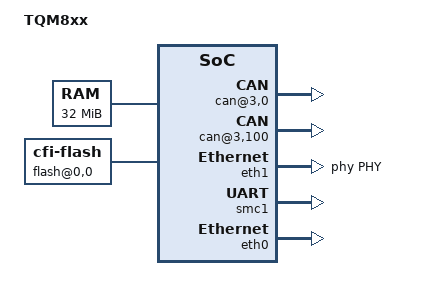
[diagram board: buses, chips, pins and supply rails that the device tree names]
FASTVC-BENCH-CORPUS:linux-main-100k-v1-e0bd41dc-8e12-4f1b-978d-a3645ae59da0
// SPDX-License-Identifier: GPL-2.0-or-later
/*
 * TQM8XX Device Tree Source
 *
 * Heiko Schocher <hs@denx.de>
 * 2010 DENX Software Engineering GmbH
 */

/dts-v1/;

/ {
	model = "TQM8xx";
	compatible = "tqc,tqm8xx";
	#address-cells = <1>;
	#size-cells = <1>;

	aliases {
		ethernet0 = &eth0;
		ethernet1 = &eth1;
		mdio1 = &phy1;
		serial0 = &smc1;
	};

	cpus {
		#address-cells = <1>;
		#size-cells = <0>;

		PowerPC,860@0 {
			device_type = "cpu";
			reg = <0x0>;
			d-cache-line-size = <16>;	// 16 bytes
			i-cache-line-size = <16>;	// 16 bytes
			d-cache-size = <0x1000>;		// L1, 4K
			i-cache-size = <0x1000>;		// L1, 4K
			timebase-frequency = <0>;
			bus-frequency = <0>;
			clock-frequency = <0>;
			interrupts = <15 2>;	// decrementer interrupt
			interrupt-parent = <&PIC>;
		};
	};

	memory {
		device_type = "memory";
		reg = <0x0 0x2000000>;
	};

/* bench 12963.1.0 a3f9525cfdab */
/* bench 12963.1.1 d6508ee41d77 */
/* bench 12963.1.2 08e8373fc1fd */
/* bench 12963.1.3 77670e2cb84a */
/* bench 12963.1.4 6cdcfd9cc3e2 */
/* bench 12963.1.5 33867be1c0ef */
/* bench 12963.1.6 b96e6703d816 */
/* bench 12963.1.7 d04c79f9f903 */
/* bench 12963.1.8 bf63d5ca4567 */
/* bench 12963.1.9 4d818d26c6c7 */
/* bench 12963.1.10 8720cc38014a */
/* bench 12963.1.11 9ddaa5a8ed99 */
/* bench 12963.1.12 99a6e42b6451 */
/* bench 12963.1.13 bee227996020 */
/* bench 6108.3.2 7aa2f769eebd */
/* bench 6108.3.3 2bbb1d0eceea */
		reg = <0xfff00100 0x40>;

		ranges = <
			0x0 0x0 0x40000000 0x800000
			0x3 0x0 0xc0000000 0x200
		>;

		flash@0,0 {
			compatible = "cfi-flash";
			reg = <0 0 0x800000>;
			#address-cells = <1>;
			#size-cells = <1>;
			bank-width = <4>;
			device-width = <2>;
		};

		/* Note: CAN support needs be enabled in U-Boot */
		can@3,0 {
			compatible = "intc,82527";
			reg = <3 0x0 0x80>;
			interrupts = <8 1>;
			interrupt-parent = <&PIC>;
			bosch,external-clock-frequency = <16000000>;
			bosch,disconnect-rx1-input;
			bosch,disconnect-tx1-output;
/* bench 6300.3.0 2ff52e2f1891 */
/* bench 6300.3.1 2cc5ed32f8cf */
/* bench 6300.3.2 745eb0fa3b1f */
/* bench 6300.3.3 a1f55cab8bca */
/* bench 6300.3.4 69513bc64a0e */
/* bench 6300.3.5 3c70e4bd872d */
			bosch,iso-low-speed-mux;
			bosch,clock-out-frequency = <16000000>;
		};

		can@3,100 {
			compatible = "intc,82527";
			reg = <3 0x100 0x80>;
			interrupts = <8 1>;
			interrupt-parent = <&PIC>;
			bosch,external-clock-frequency = <16000000>;
			bosch,disconnect-rx1-input;
			bosch,disconnect-tx1-output;
			bosch,iso-low-speed-mux;
		};
	};

	soc@fff00000 {
		#address-cells = <1>;
		#size-cells = <1>;
		device_type = "soc";
		ranges = <0x0 0xfff00000 0x00004000>;

		phy1: mdio@e00 {
			compatible = "fsl,mpc866-fec-mdio", "fsl,pq1-fec-mdio";
			reg = <0xe00 0x188>;
			#address-cells = <1>;
			#size-cells = <0>;
			PHY: ethernet-phy@f {
				reg = <0xf>;
			};
		};

		eth1: ethernet@e00 {
			device_type = "network";
			compatible = "fsl,mpc866-fec-enet",
			             "fsl,pq1-fec-enet";
			reg = <0xe00 0x188>;
			interrupts = <3 1>;
			interrupt-parent = <&PIC>;
			phy-handle = <&PHY>;
			linux,network-index = <1>;
		};

		PIC: pic@0 {
			interrupt-controller;
			#interrupt-cells = <2>;
			reg = <0x0 0x24>;
			compatible = "fsl,mpc860-pic", "fsl,pq1-pic";
		};

		cpm@9c0 {
			#address-cells = <1>;
			#size-cells = <1>;
			compatible = "fsl,mpc860-cpm", "fsl,cpm1";
			ranges;
			reg = <0x9c0 0x40>;
			brg-frequency = <0>;
			interrupts = <0 2>;	// cpm error interrupt
			interrupt-parent = <&CPM_PIC>;

			muram@2000 {
				#address-cells = <1>;
				#size-cells = <1>;
				ranges = <0x0 0x2000 0x2000>;

				data@0 {
					compatible = "fsl,cpm-muram-data";
					reg = <0x0 0x2000>;
				};
			};

			brg@9f0 {
				compatible = "fsl,mpc860-brg",
					     "fsl,cpm1-brg",
					     "fsl,cpm-brg";
				reg = <0x9f0 0x10>;
				clock-frequency = <0>;
			};

			CPM_PIC: pic@930 {
				interrupt-controller;
				#address-cells = <0>;
/* bench 12761.2.0 ec23919d1590 */
/* bench 12761.2.1 56156a0e3803 */
/* bench 12761.2.2 0939144e23d1 */
/* bench 12761.2.3 8fbfb649ed32 */
				interrupts = <5 2 0 2>;
				interrupt-parent = <&PIC>;
				reg = <0x930 0x20>;
				compatible = "fsl,mpc860-cpm-pic",
				             "fsl,cpm1-pic";
			};


			smc1: serial@a80 {
				device_type = "serial";
				compatible = "fsl,mpc860-smc-uart",
				             "fsl,cpm1-smc-uart";
				reg = <0xa80 0x10 0x3e80 0x40>;
				interrupts = <4>;
				interrupt-parent = <&CPM_PIC>;
				fsl,cpm-brg = <1>;
				fsl,cpm-command = <0x90>;
			};

			eth0: ethernet@a00 {
				device_type = "network";
				compatible = "fsl,mpc860-scc-enet",
				             "fsl,cpm1-scc-enet";
/* bench 13742.1.0 ac848b2dd118 */
/* bench 13742.1.1 10228e37dd88 */
/* bench 13742.1.2 120322800860 */
/* bench 13742.1.3 4b6bca054d13 */
/* bench 13742.1.4 15c681cae41d */
				fsl,cpm-command = <0000>;
				linux,network-index = <0>;
				fixed-link = <0 0 10 0 0>;
			};
		};
	};
};
